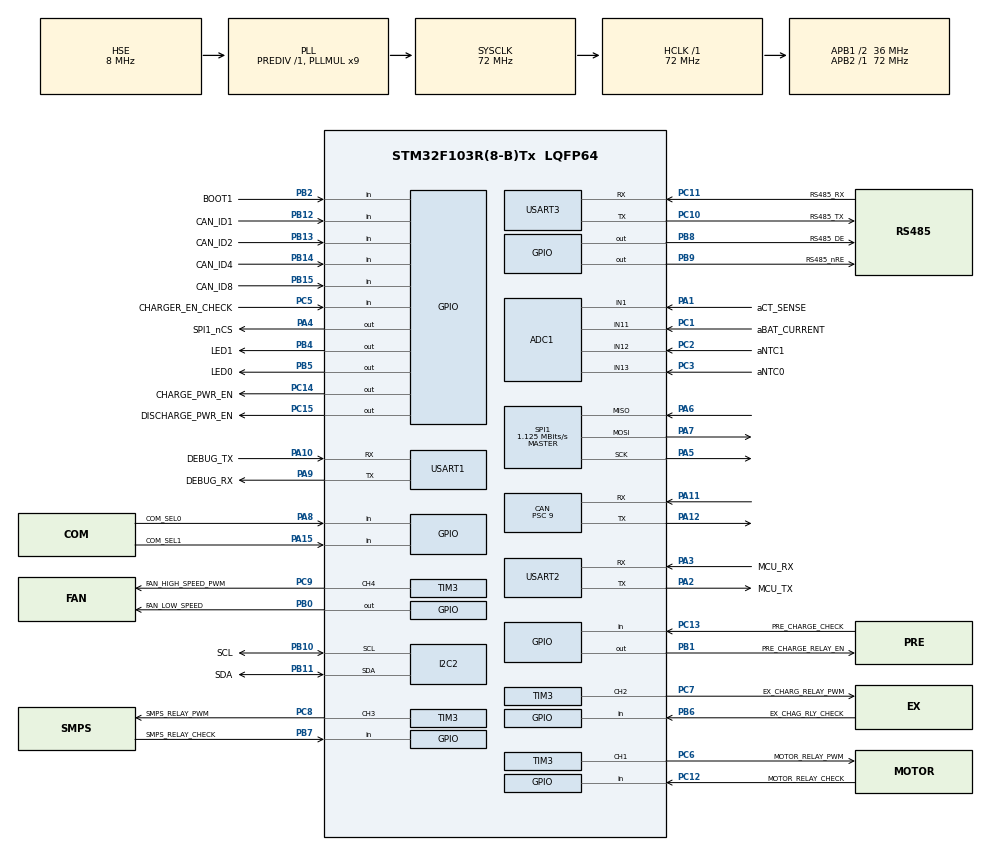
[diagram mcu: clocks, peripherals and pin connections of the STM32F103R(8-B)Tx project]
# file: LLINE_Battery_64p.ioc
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ADC1.Channel-1\#ChannelRegularConversion=ADC_CHANNEL_12
ADC1.Channel-2\#ChannelRegularConversion=ADC_CHANNEL_13
ADC1.Channel-5\#ChannelRegularConversion=ADC_CHANNEL_1
ADC1.Channel-7\#ChannelRegularConversion=ADC_CHANNEL_11
ADC1.ContinuousConvMode=ENABLE
ADC1.NbrOfConversion=4
ADC1.NbrOfConversionFlag=1
ADC1.Rank-1\#ChannelRegularConversion=1
ADC1.Rank-2\#ChannelRegularConversion=2
ADC1.Rank-5\#ChannelRegularConversion=3
ADC1.Rank-7\#ChannelRegularConversion=4
ADC1.SamplingTime-1\#ChannelRegularConversion=ADC_SAMPLETIME_13CYCLES_5
ADC1.SamplingTime-2\#ChannelRegularConversion=ADC_SAMPLETIME_13CYCLES_5
ADC1.SamplingTime-5\#ChannelRegularConversion=ADC_SAMPLETIME_13CYCLES_5
ADC1.SamplingTime-7\#ChannelRegularConversion=ADC_SAMPLETIME_13CYCLES_5
ADC1.master=1
CAN.BS1=CAN_BS1_5TQ
CAN.BS2=CAN_BS2_2TQ
CAN.CalculateBaudRate=500000
CAN.CalculateTimeBit=2000
CAN.CalculateTimeQuantum=250.0
CAN.Prescaler=9
Dma.ADC1.0.Direction=DMA_PERIPH_TO_MEMORY
Dma.ADC1.0.Instance=DMA1_Channel1
Dma.ADC1.0.MemDataAlignment=DMA_MDATAALIGN_HALFWORD
Dma.ADC1.0.MemInc=DMA_MINC_ENABLE
Dma.ADC1.0.Mode=DMA_CIRCULAR
Dma.ADC1.0.PeriphDataAlignment=DMA_PDATAALIGN_HALFWORD
Dma.ADC1.0.PeriphInc=DMA_PINC_DISABLE
Dma.ADC1.0.Priority=DMA_PRIORITY_LOW
Dma.Request0=ADC1
Mcu.Family=STM32F1
Mcu.Name=STM32F103R(8-B)Tx
Mcu.Package=LQFP64
NVIC.DMA1_Channel1_IRQn=true\:0\:0\:false\:false\:true\:false\:true\:true
NVIC.PVD_IRQn=true\:0\:0\:false\:false\:true\:true\:true\:true
NVIC.PriorityGroup=NVIC_PRIORITYGROUP_4
NVIC.TIM2_IRQn=true\:0\:0\:false\:false\:true\:true\:true\:true
NVIC.USART1_IRQn=true\:0\:0\:false\:true\:true\:2\:true\:true\:true
NVIC.USART2_IRQn=true\:0\:0\:false\:true\:true\:3\:true\:true\:true
NVIC.USART3_IRQn=true\:0\:0\:false\:true\:true\:4\:true\:true\:true
NVIC.USB_LP_CAN1_RX0_IRQn=true\:0\:0\:false\:true\:true\:1\:true\:true\:true
PA1.GPIO_Label=aCT_SENSE
PA1.Signal=ADCx_IN1
PA10.GPIO_Label=DEBUG_TX
PA10.Mode=Asynchronous
PA10.Signal=USART1_RX
PA11.Mode=CAN_Activate
PA11.Signal=CAN_RX
PA12.Mode=CAN_Activate
PA12.Signal=CAN_TX
PA13.GPIO_Label=TMS
PA13.Mode=Serial_Wire
PA13.Signal=SYS_JTMS-SWDIO
PA14.GPIO_Label=TCK
PA14.Mode=Serial_Wire
PA14.Signal=SYS_JTCK-SWCLK
PA15.GPIO_Label=COM_SEL1
PA15.GPIO_PuPd=GPIO_PULLDOWN
PA15.Signal=GPIO_Input
PA2.GPIO_Label=MCU_TX
PA2.GPIO_Mode=GPIO_MODE_AF_PP
PA2.GPIO_PuPd=GPIO_NOPULL
PA2.GPIO_Speed=GPIO_SPEED_FREQ_LOW
PA2.Mode=Asynchronous
PA2.Signal=USART2_TX
PA3.GPIO_Label=MCU_RX
PA3.GPIO_Mode=GPIO_MODE_INPUT
PA3.GPIO_PuPd=GPIO_NOPULL
PA3.GPIO_Speed=GPIO_SPEED_FREQ_LOW
PA3.Mode=Asynchronous
PA3.Signal=USART2_RX
PA4.GPIO_Label=SPI1_nCS
PA4.GPIO_PuPd=GPIO_PULLUP
PA4.PinState=GPIO_PIN_SET
PA4.Signal=GPIO_Output
PA5.Mode=Full_Duplex_Master
PA5.Signal=SPI1_SCK
PA6.Mode=Full_Duplex_Master
PA6.Signal=SPI1_MISO
PA7.Mode=Full_Duplex_Master
PA7.Signal=SPI1_MOSI
PA8.GPIO_Label=COM_SEL0
PA8.GPIO_PuPd=GPIO_PULLDOWN
PA8.Signal=GPIO_Input
PA9.GPIO_Label=DEBUG_RX
PA9.Mode=Asynchronous
PA9.Signal=USART1_TX
PB0.GPIO_Label=FAN_LOW_SPEED
PB0.Signal=GPIO_Output
PB1.GPIO_Label=PRE_CHARGE_RELAY_EN
PB1.Signal=GPIO_Output
PB10.GPIO_Label=SCL
PB10.GPIO_Pu=GPIO_PULLUP
PB10.Mode=I2C
PB10.Signal=I2C2_SCL
PB11.GPIO_Label=SDA
PB11.GPIO_Pu=GPIO_PULLUP
PB11.Mode=I2C
PB11.Signal=I2C2_SDA
PB12.GPIO_Label=CAN_ID1
PB12.GPIO_PuPd=GPIO_PULLDOWN
PB12.Signal=GPIO_Input
PB13.GPIO_Label=CAN_ID2
PB13.GPIO_PuPd=GPIO_PULLDOWN
PB13.Signal=GPIO_Input
PB14.GPIO_Label=CAN_ID4
PB14.GPIO_PuPd=GPIO_PULLDOWN
PB14.Signal=GPIO_Input
PB15.GPIO_Label=CAN_ID8
PB15.GPIO_PuPd=GPIO_PULLDOWN
PB15.Signal=GPIO_Input
PB2.GPIO_Label=BOOT1
PB2.Signal=GPIO_Input
PB3.GPIO_Label=SWO
PB3.Signal=SYS_JTDO-TRACESWO
PB4.GPIO_Label=LED1
PB4.Signal=GPIO_Output
PB5.GPIO_Label=LED0
PB5.Signal=GPIO_Output
PB6.GPIO_Label=EX_CHAG_RLY_CHECK
PB6.GPIO_PuPd=GPIO_PULLDOWN
PB6.Signal=GPIO_Input
PB7.GPIO_Label=SMPS_RELAY_CHECK
PB7.GPIO_PuPd=GPIO_PULLDOWN
PB7.Signal=GPIO_Input
PB8.GPIO_Label=RS485_DE
PB8.Signal=GPIO_Output
PB9.GPIO_Label=RS485_nRE
PB9.Signal=GPIO_Output
PC1.GPIO_Label=aBAT_CURRENT
PC1.Signal=ADCx_IN11
PC10.GPIO_Label=RS485_TX
PC10.Mode=Asynchronous
PC10.Signal=USART3_TX
PC11.GPIO_Label=RS485_RX
PC11.Mode=Asynchronous
PC11.Signal=USART3_RX
PC12.GPIO_Label=MOTOR_RELAY_CHECK
PC12.GPIO_PuPd=GPIO_PULLDOWN
PC12.Signal=GPIO_Input
PC13-TAMPER-RTC.GPIO_Label=PRE_CHARGE_CHECK
PC13-TAMPER-RTC.GPIO_PuPd=GPIO_PULLDOWN
PC13-TAMPER-RTC.Signal=GPIO_Input
PC14-OSC32_IN.GPIO_Label=CHARGE_PWR_EN
PC14-OSC32_IN.Signal=GPIO_Output
PC15-OSC32_OUT.GPIO_Label=DISCHARGE_PWR_EN
PC15-OSC32_OUT.Signal=GPIO_Output
PC2.GPIO_Label=aNTC1
PC2.Signal=ADCx_IN12
PC3.GPIO_Label=aNTC0
PC3.Signal=ADCx_IN13
PC5.GPIO_Label=CHARGER_EN_CHECK
PC5.GPIO_PuPd=GPIO_PULLDOWN
PC5.Signal=GPIO_Input
PC6.GPIO_Label=MOTOR_RELAY_PWM
PC6.Signal=S_TIM3_CH1
PC7.GPIO_Label=EX_CHARG_RELAY_PWM
PC7.Signal=S_TIM3_CH2
PC8.GPIO_Label=SMPS_RELAY_PWM
PC8.Signal=S_TIM3_CH3
PC9.GPIO_Label=FAN_HIGH_SPEED_PWM
PC9.Signal=S_TIM3_CH4
PD0-OSC_IN.Mode=HSE-External-Oscillator
PD0-OSC_IN.Signal=RCC_OSC_IN
PD1-OSC_OUT.Mode=HSE-External-Oscillator
PD1-OSC_OUT.Signal=RCC_OSC_OUT
ProjectManager.HeapSize=0x200
ProjectManager.StackSize=0x400
ProjectManager.TargetToolchain=STM32CubeIDE
RCC.ADCPresc=RCC_ADCPCLK2_DIV8
RCC.AHBFreq_Value=72000000
RCC.APB1CLKDivider=RCC_HCLK_DIV2
RCC.APB1Freq_Value=36000000
RCC.APB1TimFreq_Value=72000000
RCC.APB2Freq_Value=72000000
RCC.APB2TimFreq_Value=72000000
RCC.HCLKFreq_Value=72000000
RCC.PLLMUL=RCC_PLL_MUL9
RCC.PLLSourceVirtual=RCC_PLLSOURCE_HSE
RCC.SYSCLKFreq_VALUE=72000000
RCC.SYSCLKSource=RCC_SYSCLKSOURCE_PLLCLK
RCC.USBFreq_Value=72000000
SH.ADCx_IN1.0=ADC1_IN1,IN1
SH.ADCx_IN11.0=ADC1_IN11,IN11
SH.ADCx_IN12.0=ADC1_IN12,IN12
SH.ADCx_IN13.0=ADC1_IN13,IN13
SH.S_TIM3_CH1.0=TIM3_CH1,PWM Generation1 CH1
SH.S_TIM3_CH2.0=TIM3_CH2,PWM Generation2 CH2
SH.S_TIM3_CH3.0=TIM3_CH3,PWM Generation3 CH3
SH.S_TIM3_CH4.0=TIM3_CH4,PWM Generation4 CH4
SPI1.BaudRatePrescaler=SPI_BAUDRATEPRESCALER_64
SPI1.CLKPhase=SPI_PHASE_1EDGE
SPI1.CLKPolarity=SPI_POLARITY_LOW
SPI1.CalculateBaudRate=1.125 MBits/s
SPI1.Direction=SPI_DIRECTION_2LINES
SPI1.Mode=SPI_MODE_MASTER
SPI1.VirtualType=VM_MASTER
TIM2.Period=10000-1
TIM2.Prescaler=720-1
TIM3.Channel-PWM\ Generation1\ CH1=TIM_CHANNEL_1
TIM3.Channel-PWM\ Generation2\ CH2=TIM_CHANNEL_2
TIM3.Channel-PWM\ Generation3\ CH3=TIM_CHANNEL_3
TIM3.Channel-PWM\ Generation4\ CH4=TIM_CHANNEL_4
TIM3.Period=100-1
TIM3.Prescaler=36-1
TIM3.Pulse-PWM\ Generation2\ CH2=35-1
TIM3.Pulse-PWM\ Generation3\ CH3=35-1
TIM3.Pulse-PWM\ Generation4\ CH4=50-1
USART1.VirtualMode=VM_ASYNC
USART2.VirtualMode=VM_ASYNC
USART3.VirtualMode=VM_ASYNC
VP_RTC_VS_RTC_Activate.Mode=RTC_Enabled
VP_TIM2_VS_ClockSourceINT.Mode=Internal
VP_TIM3_VS_ClockSourceINT.Mode=Internal
board=NUCLEO-F103RB

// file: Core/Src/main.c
/* USER CODE BEGIN Header */
/**
 ******************************************************************************
 * @file           : main.c
 * @brief          : Main program body
 ******************************************************************************
 * @attention
 *
 * <h2><center>&copy; Copyright (c) 2023 STMicroelectronics.
 * All rights reserved.</center></h2>
 *
 * This software component is licensed by ST under BSD 3-Clause license,
 * the "License"; You may not use this file except in compliance with the
 * License. You may obtain a copy of the License at:
 *                        opensource.org/licenses/BSD-3-Clause
 *
 ******************************************************************************
 */
/* USER CODE END Header */
#include "main.h"
#include "adc.h"
#include "can.h"
#include "dma.h"
#include "i2c.h"
#include "rtc.h"
#include "spi.h"
#include "tim.h"
#include "usart.h"
#include "gpio.h"

/* USER CODE BEGIN Includes */
#include "main.h"
/* USER CODE END Includes */

void SystemClock_Config(void);
static void MX_NVIC_Init(void);
/* USER CODE BEGIN PFP */
#ifdef __GNUC__
#define PUTCHAR_PROTOTYPE int __io_putchar(int ch)
#else
#define PUTCHAR_PROTOTYPE int fputc(int ch, FILE *f)
#endif

PUTCHAR_PROTOTYPE
{
	HAL_UART_Transmit(&huart2, (uint8_t *)&ch, 1, HAL_MAX_DELAY);
	return ch;
}

void check_smps_charge(void)
{
	uint8_t	i;
	uint16_t high_voltage = 0, low_voltage = 0xFFFF;

	// Check cell voltage
	for(i=0;i<NUM_OF_CELL;i++)
	{
		// Find highest and lowest voltage cell
		if(Adbms6817.voltage_cell[i] > high_voltage)
		{
			high_voltage = Adbms6817.voltage_cell[i];
		}
		if(Adbms6817.voltage_cell[i] < low_voltage)
		{
			low_voltage = Adbms6817.voltage_cell[i];
		}
	}

	if(low_voltage/10000. < 3.5)
	{
		PWM_Toggle_Relay(PWM_SMPS_CHARGE, OFF);
	}

}
/* USER CODE END PFP */

int main(void)
{

  /* MCU Configuration--------------------------------------------------------*/

  /* Reset of all peripherals, Initializes the Flash interface and the Systick. */
  HAL_Init();

  /* Configure the system clock */
  SystemClock_Config();

  /* Initialize all configured peripherals */
  MX_GPIO_Init();
  MX_DMA_Init();
  MX_USART2_UART_Init();
  MX_ADC1_Init();
  MX_CAN_Init();
  MX_SPI1_Init();
  MX_USART1_UART_Init();
  MX_USART3_UART_Init();
  MX_TIM3_Init();
  MX_I2C2_Init();
  MX_TIM2_Init();
  MX_RTC_Init();

  /* Initialize interrupts */
  MX_NVIC_Init();
  /* USER CODE BEGIN 2 */

	HAL_Delay(100);
	HAL_TIM_Base_Start_IT(&htim2);

	HAL_UART_Receive_IT(&huart1, &g_uUart1_Rx_now, 1);
	HAL_UART_Receive_IT(&huart2, &g_uUart2_Rx_now, 1);
	HAL_UART_Receive_IT(&huart3, &g_u485_Rx_now, 1);

	// Initialize ADBMS6817
	//Adbms6817_Set_default();
	Adbms6817_initialize();
	//ADBMS6817 Init Delay
	Adc_dma_start();						//adc infos
	HAL_Delay(1000);

	// Debug Test
	//printf("LLINE BMS 64p Start\r\n");
	Setup_default();
	Setup_ADC_default();
	Setup_uart_default(); 					//Serial buff reset
	Setup_uart485_default();				//485 buff reset
	Get_Switch_info();						//user select switch

	HAL_Delay(100);

	Can_setup_default(Sw_info.g_uOption_id);	//Sw_info.Can_id

	//Battery read	//
	//Battery ok ? ->relay on
	//Battery Low? -> wait? or low battery display
	Start_Relay_pwm(1);
	//Charge_voltage_open(1);
	//Discharge_voltage_open(1);
	Adbms6817_read_adc();
	g_bFlag_5Sec = 1;
#ifdef USE_CELL_BALANCING
	Bms.EnableBalancing = TRUE;
#endif
  /* USER CODE END 2 */

  /* Infinite loop */
  /* USER CODE BEGIN WHILE */
	printf("L.LINE Battery Management System\r\n\r\n");
	boot_time_hour = boot_time_min = boot_time_sec = 0;
	//for(int i=1;i<42;i++)
		//HAL_RTCEx_BKUPWrite(&hrtc, i, 0x1000+i);

#if 1
	while(1)
	{
		//if(g_uUart1_Rx_Flag) Uart1_Cmd_check();
		Uart1_Cmd_check();
		if(g_uUart2_Rx_Flag) Uart2_Cmd_check();
		if(g_u485_Rx_Flag)	U3_485_Cmd_check();
		if(g_uCan_Rxflag)	Can_Cmd_check();

#if defined(DEBUG_SERIAL) && defined(DEBUG_SERIAL_TEST_BSH)
		Check_Debug_Serial();
#endif
		if(g_bFlag_100ms)
		{
			// �???��?�� 교수 루틴
			EKF_Algorithm_Main();
			Bms.Soc = ed_EKF_SOC*100;
			g_bFlag_100ms = FALSE;
		}
		if(g_bFlag_1Sec)
		{
			//uint8_t data[1024];
			//flash_read(0, data, 1024);
			//HAL_FLASH_Program(TypeProgram, Address, Data);
			//HAL_FLASHEx_Erase(pEraseInit, PageError);

			// BSM Basic Routine
			//Adbms6817_discharge_cell_continuously(0, FALSE);
			//Adbms6817_discharge_cell_continuously(0, TRUE);
			//BMS_Cell_Balancing();
			//Calc_SOC_Voltage();
			//Calc_SOC_Current();
			Check_Relay_Contorl();

			if(Bms.EnableBalancing)
				BMS_Cell_Balancing();
			else
				Adbms6817_read_adc();

			//printf("Bms.Voltage_avg: %d\r\n", Bms.Voltage_avg);
			//Adbms6817_adcv();
			Read_DMA_Current_n_Temperature();
			Broadcast_data();	// Broadcast to uart1
#if defined(DEBUG_SERIAL) && defined(DEBUG_SERIAL_TEST_BSH)
			Print_Cell_Voltage();
			//Print_adc_value();
			//printf("SOC : %f\%, V1 : %f, Vt : %f\r\n\r\n", ed_EKF_SOC*100, ed_EKF_V1, ed_EKF_Vt);
			#if 0
			if(IS_SMPS_RELAY_CHECK)
				printf("SMPS ON\r\n");
			else
				printf("SMPS OFF\r\n");
			if(IS_EX_CHARGING_RELAY_CHECK)
				printf("EX-CHARGE ON\r\n");
			else
				printf("EX-CHARGE OFF\r\n");
			if(IS_MOTOR_RELAY_CHECK)
				printf("MOTOR ON\r\n");
			else
				printf("MOTOR OFF\r\n");
			//printf("txtxtxtx\r\n");
			#endif
#endif
			//if(Err.g_uOver_Current_flag || Err.g_uOver_Charge_flag || Err.g_uOver_Temp_flag) Charge_Discharge_control();

			HAL_GPIO_TogglePin(LED1_GPIO_Port, LED1_Pin);
			g_bFlag_1Sec = 0;
		}

		if(g_bFlag_5Sec)
		{
			//Fan_pwm_control();
			if(Bms.EnableBalancing)
			{
				//BMS_Cell_Balancing();
			}
			g_bFlag_5Sec = 0;
		}
    /* USER CODE END WHILE */

    /* USER CODE BEGIN 3 */
	}
#endif

  /* USER CODE END 3 */
}

void SystemClock_Config(void)
{
  RCC_OscInitTypeDef RCC_OscInitStruct = {0};
  RCC_ClkInitTypeDef RCC_ClkInitStruct = {0};
  RCC_PeriphCLKInitTypeDef PeriphClkInit = {0};

  /** Initializes the RCC Oscillators according to the specified parameters
  * in the RCC_OscInitTypeDef structure.
  */
  RCC_OscInitStruct.OscillatorType = RCC_OSCILLATORTYPE_LSI|RCC_OSCILLATORTYPE_HSE;
  RCC_OscInitStruct.HSEState = RCC_HSE_ON;
  RCC_OscInitStruct.HSEPredivValue = RCC_HSE_PREDIV_DIV1;
  RCC_OscInitStruct.HSIState = RCC_HSI_ON;
  RCC_OscInitStruct.LSIState = RCC_LSI_ON;
  RCC_OscInitStruct.PLL.PLLState = RCC_PLL_ON;
  RCC_OscInitStruct.PLL.PLLSource = RCC_PLLSOURCE_HSE;
  RCC_OscInitStruct.PLL.PLLMUL = RCC_PLL_MUL9;
  if (HAL_RCC_OscConfig(&RCC_OscInitStruct) != HAL_OK)
  {
    Error_Handler();
  }

  /** Initializes the CPU, AHB and APB buses clocks
  */
  RCC_ClkInitStruct.ClockType = RCC_CLOCKTYPE_HCLK|RCC_CLOCKTYPE_SYSCLK
                              |RCC_CLOCKTYPE_PCLK1|RCC_CLOCKTYPE_PCLK2;
  RCC_ClkInitStruct.SYSCLKSource = RCC_SYSCLKSOURCE_PLLCLK;
  RCC_ClkInitStruct.AHBCLKDivider = RCC_SYSCLK_DIV1;
  RCC_ClkInitStruct.APB1CLKDivider = RCC_HCLK_DIV2;
  RCC_ClkInitStruct.APB2CLKDivider = RCC_HCLK_DIV1;

  if (HAL_RCC_ClockConfig(&RCC_ClkInitStruct, FLASH_LATENCY_2) != HAL_OK)
  {
    Error_Handler();
  }
  PeriphClkInit.PeriphClockSelection = RCC_PERIPHCLK_RTC|RCC_PERIPHCLK_ADC;
  PeriphClkInit.RTCClockSelection = RCC_RTCCLKSOURCE_LSI;
  PeriphClkInit.AdcClockSelection = RCC_ADCPCLK2_DIV8;
  if (HAL_RCCEx_PeriphCLKConfig(&PeriphClkInit) != HAL_OK)
  {
    Error_Handler();
  }
}

/**
  * @brief NVIC Configuration.
  * @retval None
  */
static void MX_NVIC_Init(void)
{
  /* USB_LP_CAN1_RX0_IRQn interrupt configuration */
  HAL_NVIC_SetPriority(USB_LP_CAN1_RX0_IRQn, 0, 0);
  HAL_NVIC_EnableIRQ(USB_LP_CAN1_RX0_IRQn);
  /* USART1_IRQn interrupt configuration */
  HAL_NVIC_SetPriority(USART1_IRQn, 0, 0);
  HAL_NVIC_EnableIRQ(USART1_IRQn);
  /* USART2_IRQn interrupt configuration */
  HAL_NVIC_SetPriority(USART2_IRQn, 0, 0);
  HAL_NVIC_EnableIRQ(USART2_IRQn);
  /* USART3_IRQn interrupt configuration */
  HAL_NVIC_SetPriority(USART3_IRQn, 0, 0);
  HAL_NVIC_EnableIRQ(USART3_IRQn);
}

/* USER CODE BEGIN 4 */

void HAL_UART_RxCpltCallback(UART_HandleTypeDef *huart)
{
#if 0
	if (huart->Instance == USART1)	//
	{
		g_uUart1_Rx_prev = g_uUart1_Rx_buffer[g_uUart1_Rx_head-1];
		g_uUart1_Rx_buffer[g_uUart1_Rx_head++] =	g_uUart1_Rx_now;

		if(g_uUart1_Rx_now == '\n')
		{
			if(g_uUart1_Rx_prev == '\r')
			{
				uint8_t i=0;
				g_uUart1_Rx_Flag = 1;
				while(g_uUart1_Rx_head != g_uUart1_Rx_tail)
				{
					g_uUart1_Rx_Cmd[i++] = g_uUart1_Rx_buffer[g_uUart1_Rx_tail++];
				}
			}
		}
		HAL_UART_Receive_IT(&huart1, &g_uUart1_Rx_now, 1);
	}
#endif
	if (huart->Instance == USART1)	//
	{
		g_uUart1_Rx_buffer[g_uUart1_Rx_head++] =	g_uUart1_Rx_now;
		HAL_UART_Receive_IT(&huart1, &g_uUart1_Rx_now, 1);
	}
	else if (huart->Instance == USART2)	//
	{
		g_uUart2_Rx_prev = g_uUart2_Rx_buffer[g_uUart2_Rx_head-1];
		g_uUart2_Rx_buffer[g_uUart2_Rx_head++] =	g_uUart2_Rx_now;

#if defined(DEBUG_SERIAL) && defined(DEBUG_SERIAL_TEST_BSH)
		g_uDebug_Rx_buffer[g_uDebug_Rx_head++] =	g_uUart2_Rx_now;
#endif

		if(g_uUart2_Rx_now == '\n')
		{
			if(g_uUart2_Rx_prev == '\r')
			{
				uint8_t i=0;
				g_uUart2_Rx_Flag = 1;
				while(g_uUart2_Rx_head != g_uUart2_Rx_tail)
				{
					g_uUart2_Rx_Cmd[i++] = g_uUart2_Rx_buffer[g_uUart2_Rx_tail++];
				}
			}
		}
		HAL_UART_Receive_IT(&huart2, &g_uUart2_Rx_now, 1);
	}
	else if (huart->Instance == USART3)	//
	{

		g_u485_Rx_prev = g_u485_Rx_buffer[g_u485_Rx_head-1];
		g_u485_Rx_buffer[g_u485_Rx_head++] =g_u485_Rx_now;

		if(g_u485_Rx_now == '\n')
		{
			if(g_u485_Rx_prev == '\r')
			{
				uint8_t i=0;
				g_u485_Rx_Flag = 1;
				while(g_u485_Rx_head != g_u485_Rx_tail)
				{
					g_u485_Rx_Cmd[i++] = g_u485_Rx_buffer[g_u485_Rx_tail++];
				}
			}
		}
		HAL_UART_Receive_IT(&huart3, &g_u485_Rx_now, 1);
	}
}

void HAL_CAN_RxFifo0MsgPendingCallback(CAN_HandleTypeDef *CanHandle)
//void CAN1_RX1_IRQHandler(void)
{
	/* Get RX message */
	if (HAL_CAN_GetRxMessage(CanHandle, CAN_RX_FIFO0, &g_Can_RxHeader, g_uCan_RxData) != HAL_OK)
	{
		/* Reception Error */
		Error_Handler();
	}
	g_uCan_Rxflag = 1;
	//printf("StdID: %04lx, IDE: %ld, DLC: %ld\r\n", g_Can_RxHeader.StdId, g_Can_RxHeader.IDE, g_Can_RxHeader.DLC);
	//printf("%04lx Data: %d %d %d %d %d %d %d %d\r\n", g_uCan_RxData[0], g_uCan_RxData[1], g_uCan_RxData[2], g_uCan_RxData[3], g_uCan_RxData[4], g_uCan_RxData[5], g_uCan_RxData[6], g_uCan_RxData[7]);
}

void HAL_TIM_PeriodElapsedCallback(TIM_HandleTypeDef *htim)
{
	if(htim->Instance == htim2.Instance)	//Timer 100ms
	{
		tickCnt_100ms++;
		g_bFlag_100ms = TRUE;
		if(tickCnt_100ms %10 == 0)
		{
			g_bFlag_1Sec = TRUE;
			tickCnt_1s++;
			calc_boot_time();
			if(tickCnt_1s%5 == FALSE)	g_bFlag_5Sec = TRUE;

			Check_bms_error();
		}

	}
}

// CAN Error 콜백
void HAL_CAN_ErrorCallback(CAN_HandleTypeDef *hcan)
{
	//printf("HAL_CAN_ErrorCallback\r\n");
}

// PVD Callback
void HAL_PWR_PVDCallback()
{

}

/* USER CODE END 4 */

void Error_Handler(void)
{
	__disable_irq();
	while (1)
	{
	}
}
